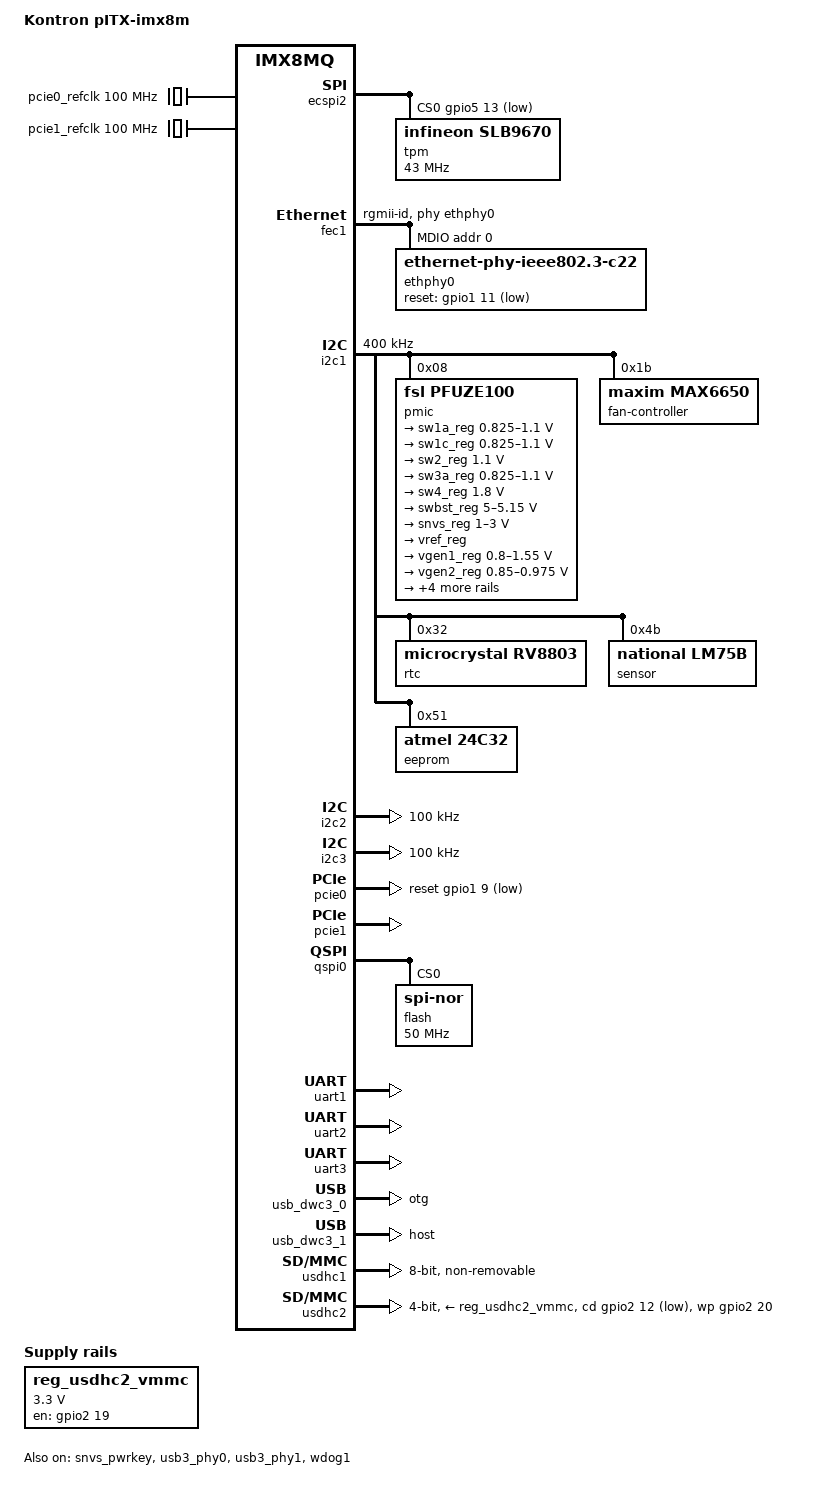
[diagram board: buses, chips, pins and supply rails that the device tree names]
// SPDX-License-Identifier: (GPL-2.0+ OR MIT)
/*
 * Device Tree File for the Kontron pitx-imx8m board.
 *
 * Copyright (C) 2021 Heiko Thiery <heiko.thiery@gmail.com>
 */

/dts-v1/;

#include "imx8mq.dtsi"
#include <dt-bindings/net/ti-dp83867.h>

/ {
	model = "Kontron pITX-imx8m";
	compatible = "kontron,pitx-imx8m", "fsl,imx8mq";

	aliases {
		i2c0 = &i2c1;
		i2c1 = &i2c2;
		i2c2 = &i2c3;
		mmc0 = &usdhc1;
		mmc1 = &usdhc2;
		serial0 = &uart1;
		serial1 = &uart2;
		serial2 = &uart3;
		spi0 = &qspi0;
		spi1 = &ecspi2;
	};

	chosen {
		stdout-path = "serial2:115200n8";
	};

	pcie0_refclk: pcie0-clock {
		compatible = "fixed-clock";
		#clock-cells = <0>;
		clock-frequency = <100000000>;
	};

	pcie1_refclk: pcie1-clock {
		compatible = "fixed-clock";
		#clock-cells = <0>;
		clock-frequency = <100000000>;
	};

	reg_usdhc2_vmmc: regulator-usdhc2-vmmc {
		compatible = "regulator-fixed";
		pinctrl-names = "default";
		pinctrl-0 = <&pinctrl_reg_usdhc2>;
		regulator-name = "V_3V3_SD";
		regulator-min-microvolt = <3300000>;
		regulator-max-microvolt = <3300000>;
		gpio = <&gpio2 19 GPIO_ACTIVE_HIGH>;
		off-on-delay-us = <20000>;
		enable-active-high;
	};
};

&ecspi2 {
	#address-cells = <1>;
	#size-cells = <0>;
	pinctrl-names = "default";
	pinctrl-0 = <&pinctrl_ecspi2 &pinctrl_ecspi2_cs>;
	cs-gpios = <&gpio5 13 GPIO_ACTIVE_LOW>;
	status = "okay";

	tpm@0 {
		compatible = "infineon,slb9670", "tcg,tpm_tis-spi";
		reg = <0>;
		spi-max-frequency = <43000000>;
	};
};

&fec1 {
	pinctrl-names = "default";
	pinctrl-0 = <&pinctrl_fec1>;
	phy-mode = "rgmii-id";
	phy-handle = <&ethphy0>;
	fsl,magic-packet;
	status = "okay";

	mdio {
		#address-cells = <1>;
		#size-cells = <0>;

		ethphy0: ethernet-phy@0 {
			compatible = "ethernet-phy-ieee802.3-c22";
			reg = <0>;
			ti,rx-internal-delay = <DP83867_RGMIIDCTL_2_25_NS>;
			ti,tx-internal-delay = <DP83867_RGMIIDCTL_2_75_NS>;
			ti,fifo-depth = <DP83867_PHYCR_FIFO_DEPTH_4_B_NIB>;
			reset-gpios = <&gpio1 11 GPIO_ACTIVE_LOW>;
			reset-assert-us = <10>;
			reset-deassert-us = <280>;
		};
	};
};

&i2c1 {
	clock-frequency = <400000>;
	pinctrl-names = "default";
	pinctrl-0 = <&pinctrl_i2c1>;
	status = "okay";

	pmic@8 {
		compatible = "fsl,pfuze100";
		fsl,pfuze-support-disable-sw;
		reg = <0x8>;

		regulators {
			sw1a_reg: sw1ab {
				regulator-name = "V_0V9_GPU";
				regulator-min-microvolt = <825000>;
				regulator-max-microvolt = <1100000>;
			};

			sw1c_reg: sw1c {
				regulator-name = "V_0V9_VPU";
				regulator-min-microvolt = <825000>;
				regulator-max-microvolt = <1100000>;
			};

			sw2_reg: sw2 {
				regulator-name = "V_1V1_NVCC_DRAM";
				regulator-min-microvolt = <1100000>;
				regulator-max-microvolt = <1100000>;
				regulator-always-on;
			};

			sw3a_reg: sw3ab {
				regulator-name = "V_1V0_DRAM";
				regulator-min-microvolt = <825000>;
				regulator-max-microvolt = <1100000>;
				regulator-always-on;
			};

			sw4_reg: sw4 {
				regulator-name = "V_1V8_S0";
				regulator-min-microvolt = <1800000>;
				regulator-max-microvolt = <1800000>;
				regulator-always-on;
			};

			swbst_reg: swbst {
				regulator-name = "NC";
				regulator-min-microvolt = <5000000>;
				regulator-max-microvolt = <5150000>;
			};

			snvs_reg: vsnvs {
				regulator-name = "V_0V9_SNVS";
				regulator-min-microvolt = <1000000>;
				regulator-max-microvolt = <3000000>;
				regulator-always-on;
			};

			vref_reg: vrefddr {
				regulator-name = "V_0V55_VREF_DDR";
				regulator-always-on;
			};

			vgen1_reg: vgen1 {
				regulator-name = "V_1V5_CSI";
				regulator-min-microvolt = <800000>;
				regulator-max-microvolt = <1550000>;
			};

			vgen2_reg: vgen2 {
				regulator-name = "V_0V9_PHY";
				regulator-min-microvolt = <850000>;
				regulator-max-microvolt = <975000>;
				regulator-always-on;
			};

			vgen3_reg: vgen3 {
				regulator-name = "V_1V8_PHY";
				regulator-min-microvolt = <1675000>;
				regulator-max-microvolt = <1975000>;
				regulator-always-on;
			};

			vgen4_reg: vgen4 {
				regulator-name = "V_1V8_VDDA";
				regulator-min-microvolt = <1625000>;
				regulator-max-microvolt = <1875000>;
				regulator-always-on;
			};

			vgen5_reg: vgen5 {
				regulator-name = "V_3V3_PHY";
				regulator-min-microvolt = <3075000>;
				regulator-max-microvolt = <3625000>;
				regulator-always-on;
			};

			vgen6_reg: vgen6 {
				regulator-name = "V_2V8_CAM";
				regulator-min-microvolt = <1800000>;
				regulator-max-microvolt = <3300000>;
				regulator-always-on;
			};
		};
	};

	fan-controller@1b {
		compatible = "maxim,max6650";
		reg = <0x1b>;
		maxim,fan-microvolt = <5000000>;
	};

	rtc@32 {
		compatible = "microcrystal,rv8803";
		reg = <0x32>;
	};

	sensor@4b {
		compatible = "national,lm75b";
		reg = <0x4b>;
	};

	eeprom@51 {
		compatible = "atmel,24c32";
		reg = <0x51>;
		pagesize = <32>;
	};
};

&i2c2 {
	clock-frequency = <100000>;
	pinctrl-names = "default";
	pinctrl-0 = <&pinctrl_i2c2>;
	status = "okay";
};

&i2c3 {
	clock-frequency = <100000>;
	pinctrl-names = "default";
	pinctrl-0 = <&pinctrl_i2c3>;
	status = "okay";
};

/* M.2 B-key slot */
&pcie0 {
	pinctrl-names = "default";
	pinctrl-0 = <&pinctrl_pcie0>;
	reset-gpio = <&gpio1 9 GPIO_ACTIVE_LOW>;
	clocks = <&clk IMX8MQ_CLK_PCIE1_ROOT>,
		 <&pcie0_refclk>,
		 <&clk IMX8MQ_CLK_PCIE1_PHY>,
		 <&clk IMX8MQ_CLK_PCIE1_AUX>;
	status = "okay";
};

/* Intel Ethernet Controller I210/I211 */
&pcie1 {
	clocks = <&clk IMX8MQ_CLK_PCIE2_ROOT>,
		 <&pcie1_refclk>,
		 <&clk IMX8MQ_CLK_PCIE2_PHY>,
		 <&clk IMX8MQ_CLK_PCIE2_AUX>;
	fsl,max-link-speed = <1>;
	status = "okay";
};

&pgc_gpu {
	power-supply = <&sw1a_reg>;
};

&pgc_vpu {
	power-supply = <&sw1c_reg>;
};

&qspi0 {
	pinctrl-names = "default";
	pinctrl-0 = <&pinctrl_qspi>;
	status = "okay";

	flash@0 {
		compatible = "jedec,spi-nor";
		#address-cells = <1>;
		#size-cells = <1>;
		reg = <0>;
		spi-tx-bus-width = <1>;
		spi-rx-bus-width = <4>;
		m25p,fast-read;
		spi-max-frequency = <50000000>;
	};
};

&snvs_pwrkey {
	status = "okay";
};

&uart1 {
	pinctrl-names = "default";
	pinctrl-0 = <&pinctrl_uart1>;
	assigned-clocks = <&clk IMX8MQ_CLK_UART1>;
	assigned-clock-parents = <&clk IMX8MQ_SYS1_PLL_80M>;
	status = "okay";
};

&uart2 {
	pinctrl-names = "default";
	pinctrl-0 = <&pinctrl_uart2>;
	assigned-clocks = <&clk IMX8MQ_CLK_UART2>;
	assigned-clock-parents = <&clk IMX8MQ_SYS1_PLL_80M>;
	status = "okay";
};

&uart3 {
	pinctrl-names = "default";
	pinctrl-0 = <&pinctrl_uart3>;
	uart-has-rtscts;
	assigned-clocks = <&clk IMX8MQ_CLK_UART3>;
	assigned-clock-parents = <&clk IMX8MQ_SYS1_PLL_80M>;
	status = "okay";
};

&usb3_phy0 {
	status = "okay";
};

&usb3_phy1 {
	status = "okay";
};

&usb_dwc3_0 {
	pinctrl-names = "default";
	pinctrl-0 = <&pinctrl_usb0>;
	dr_mode = "otg";
	hnp-disable;
	srp-disable;
	adp-disable;
	maximum-speed = "high-speed";
	status = "okay";
};

&usb_dwc3_1 {
	dr_mode = "host";
	status = "okay";
};

&usdhc1 {
	assigned-clocks = <&clk IMX8MQ_CLK_USDHC1>;
	assigned-clock-rates = <400000000>;
	pinctrl-names = "default", "state_100mhz", "state_200mhz";
	pinctrl-0 = <&pinctrl_usdhc1>;
	pinctrl-1 = <&pinctrl_usdhc1_100mhz>;
	pinctrl-2 = <&pinctrl_usdhc1_200mhz>;
	vqmmc-supply = <&sw4_reg>;
	bus-width = <8>;
	non-removable;
	no-sd;
	no-sdio;
	status = "okay";
};

&usdhc2 {
	assigned-clocks = <&clk IMX8MQ_CLK_USDHC2>;
	assigned-clock-rates = <200000000>;
	pinctrl-names = "default", "state_100mhz", "state_200mhz";
	pinctrl-0 = <&pinctrl_usdhc2>, <&pinctrl_usdhc2_gpio>;
	pinctrl-1 = <&pinctrl_usdhc2_100mhz>, <&pinctrl_usdhc2_gpio>;
	pinctrl-2 = <&pinctrl_usdhc2_200mhz>, <&pinctrl_usdhc2_gpio>;
	bus-width = <4>;
	cd-gpios = <&gpio2 12 GPIO_ACTIVE_LOW>;
	wp-gpios = <&gpio2 20 GPIO_ACTIVE_HIGH>;
	vmmc-supply = <&reg_usdhc2_vmmc>;
	status = "okay";
};

&wdog1 {
	pinctrl-names = "default";
	pinctrl-0 = <&pinctrl_wdog>;
	fsl,ext-reset-output;
	status = "okay";
};

&iomuxc {
	pinctrl-names = "default";
	pinctrl-0 = <&pinctrl_hog>;

	pinctrl_hog: hoggrp {
		fsl,pins = <
			MX8MQ_IOMUXC_NAND_CE1_B_GPIO3_IO2		0x19 /* TPM Reset */
			MX8MQ_IOMUXC_NAND_CE3_B_GPIO3_IO4		0x19 /* USB2 Hub Reset */
		>;
	};

	pinctrl_gpio: gpiogrp {
		fsl,pins = <
			MX8MQ_IOMUXC_NAND_CLE_GPIO3_IO5			0x19 /* GPIO0 */
			MX8MQ_IOMUXC_NAND_RE_B_GPIO3_IO15		0x19 /* GPIO1 */
			MX8MQ_IOMUXC_NAND_WE_B_GPIO3_IO17		0x19 /* GPIO2 */
			MX8MQ_IOMUXC_NAND_WP_B_GPIO3_IO18		0x19 /* GPIO3 */
			MX8MQ_IOMUXC_NAND_READY_B_GPIO3_IO16		0x19 /* GPIO4 */
			MX8MQ_IOMUXC_NAND_DATA04_GPIO3_IO10		0x19 /* GPIO5 */
			MX8MQ_IOMUXC_NAND_DATA05_GPIO3_IO11		0x19 /* GPIO6 */
			MX8MQ_IOMUXC_NAND_DATA06_GPIO3_IO12		0x19 /* GPIO7 */
		>;
	};

	pinctrl_pcie0: pcie0grp {
		fsl,pins = <
			MX8MQ_IOMUXC_GPIO1_IO09_GPIO1_IO9		0x16 /* PCIE_PERST */
			MX8MQ_IOMUXC_UART4_TXD_GPIO5_IO29		0x16 /* W_DISABLE */
		>;
	};

	pinctrl_reg_usdhc2: regusdhc2gpiogrp {
		fsl,pins = <
			MX8MQ_IOMUXC_SD2_RESET_B_GPIO2_IO19		0x41
		>;
	};

	pinctrl_fec1: fec1grp {
		fsl,pins = <
			MX8MQ_IOMUXC_ENET_MDC_ENET1_MDC			0x3
			MX8MQ_IOMUXC_ENET_MDIO_ENET1_MDIO		0x23
			MX8MQ_IOMUXC_ENET_TD3_ENET1_RGMII_TD3		0x1f
			MX8MQ_IOMUXC_ENET_TD2_ENET1_RGMII_TD2		0x1f
			MX8MQ_IOMUXC_ENET_TD1_ENET1_RGMII_TD1		0x1f
			MX8MQ_IOMUXC_ENET_TD0_ENET1_RGMII_TD0		0x1f
			MX8MQ_IOMUXC_ENET_RD3_ENET1_RGMII_RD3		0x91
			MX8MQ_IOMUXC_ENET_RD2_ENET1_RGMII_RD2		0x91
			MX8MQ_IOMUXC_ENET_RD1_ENET1_RGMII_RD1		0x91
			MX8MQ_IOMUXC_ENET_RD0_ENET1_RGMII_RD0		0x91
			MX8MQ_IOMUXC_ENET_TXC_ENET1_RGMII_TXC		0x1f
			MX8MQ_IOMUXC_ENET_RXC_ENET1_RGMII_RXC		0x91
			MX8MQ_IOMUXC_ENET_RX_CTL_ENET1_RGMII_RX_CTL	0x91
			MX8MQ_IOMUXC_ENET_TX_CTL_ENET1_RGMII_TX_CTL	0x1f
			MX8MQ_IOMUXC_GPIO1_IO11_GPIO1_IO11		0x16
			MX8MQ_IOMUXC_GPIO1_IO15_GPIO1_IO15		0x16
		>;
	};

	pinctrl_i2c1: i2c1grp {
		fsl,pins = <
			MX8MQ_IOMUXC_I2C1_SCL_I2C1_SCL			0x4000007f
			MX8MQ_IOMUXC_I2C1_SDA_I2C1_SDA			0x4000007f
		>;
	};

	pinctrl_i2c2: i2c2grp {
		fsl,pins = <
			MX8MQ_IOMUXC_I2C2_SCL_I2C2_SCL			0x4000007f
			MX8MQ_IOMUXC_I2C2_SDA_I2C2_SDA			0x4000007f
		>;
	};

	pinctrl_i2c3: i2c3grp {
		fsl,pins = <
			MX8MQ_IOMUXC_I2C3_SCL_I2C3_SCL			0x4000007f
			MX8MQ_IOMUXC_I2C3_SDA_I2C3_SDA			0x4000007f
		>;
	};

	pinctrl_qspi: qspigrp {
		fsl,pins = <
			MX8MQ_IOMUXC_NAND_ALE_QSPI_A_SCLK		0x82
			MX8MQ_IOMUXC_NAND_CE0_B_QSPI_A_SS0_B		0x82
			MX8MQ_IOMUXC_NAND_DATA00_QSPI_A_DATA0		0x82
			MX8MQ_IOMUXC_NAND_DATA01_QSPI_A_DATA1		0x82
			MX8MQ_IOMUXC_NAND_DATA02_QSPI_A_DATA2		0x82
			MX8MQ_IOMUXC_NAND_DATA03_QSPI_A_DATA3		0x82
		>;
	};

	pinctrl_ecspi2: ecspi2grp {
		fsl,pins = <
			MX8MQ_IOMUXC_ECSPI2_MOSI_ECSPI2_MOSI		0x19
			MX8MQ_IOMUXC_ECSPI2_MISO_ECSPI2_MISO		0x19
			MX8MQ_IOMUXC_ECSPI2_SCLK_ECSPI2_SCLK		0x19
		>;
	};

	pinctrl_ecspi2_cs: ecspi2csgrp {
		fsl,pins = <
			MX8MQ_IOMUXC_ECSPI2_SS0_GPIO5_IO13		0x19
		>;
	};

	pinctrl_uart1: uart1grp {
		fsl,pins = <
			MX8MQ_IOMUXC_UART1_TXD_UART1_DCE_TX		0x49
			MX8MQ_IOMUXC_UART1_RXD_UART1_DCE_RX		0x49
		>;
	};

	pinctrl_uart2: uart2grp {
		fsl,pins = <
			MX8MQ_IOMUXC_UART2_TXD_UART2_DCE_TX		0x49
			MX8MQ_IOMUXC_UART2_RXD_UART2_DCE_RX		0x49
		>;
	};

	pinctrl_uart3: uart3grp {
		fsl,pins = <
			MX8MQ_IOMUXC_UART3_TXD_UART3_DCE_TX		0x49
			MX8MQ_IOMUXC_UART3_RXD_UART3_DCE_RX		0x49
			MX8MQ_IOMUXC_ECSPI1_SS0_UART3_DCE_RTS_B		0x49
			MX8MQ_IOMUXC_ECSPI1_MISO_UART3_DCE_CTS_B	0x49
		>;
	};

	pinctrl_usdhc1: usdhc1grp {
		fsl,pins = <
			MX8MQ_IOMUXC_SD1_CLK_USDHC1_CLK			0x83
			MX8MQ_IOMUXC_SD1_CMD_USDHC1_CMD			0xc3
			MX8MQ_IOMUXC_SD1_DATA0_USDHC1_DATA0		0xc3
			MX8MQ_IOMUXC_SD1_DATA1_USDHC1_DATA1		0xc3
			MX8MQ_IOMUXC_SD1_DATA2_USDHC1_DATA2		0xc3
			MX8MQ_IOMUXC_SD1_DATA3_USDHC1_DATA3		0xc3
			MX8MQ_IOMUXC_SD1_DATA4_USDHC1_DATA4		0xc3
			MX8MQ_IOMUXC_SD1_DATA5_USDHC1_DATA5		0xc3
			MX8MQ_IOMUXC_SD1_DATA6_USDHC1_DATA6		0xc3
			MX8MQ_IOMUXC_SD1_DATA7_USDHC1_DATA7		0xc3
			MX8MQ_IOMUXC_SD1_STROBE_USDHC1_STROBE		0x83
			MX8MQ_IOMUXC_SD1_RESET_B_USDHC1_RESET_B		0xc1
		>;
	};

	pinctrl_usdhc1_100mhz: usdhc1-100grp {
		fsl,pins = <
			MX8MQ_IOMUXC_SD1_CLK_USDHC1_CLK			0x8d
			MX8MQ_IOMUXC_SD1_CMD_USDHC1_CMD			0xcd
			MX8MQ_IOMUXC_SD1_DATA0_USDHC1_DATA0		0xcd
			MX8MQ_IOMUXC_SD1_DATA1_USDHC1_DATA1		0xcd
			MX8MQ_IOMUXC_SD1_DATA2_USDHC1_DATA2		0xcd
			MX8MQ_IOMUXC_SD1_DATA3_USDHC1_DATA3		0xcd
			MX8MQ_IOMUXC_SD1_DATA4_USDHC1_DATA4		0xcd
			MX8MQ_IOMUXC_SD1_DATA5_USDHC1_DATA5		0xcd
			MX8MQ_IOMUXC_SD1_DATA6_USDHC1_DATA6		0xcd
			MX8MQ_IOMUXC_SD1_DATA7_USDHC1_DATA7		0xcd
			MX8MQ_IOMUXC_SD1_STROBE_USDHC1_STROBE		0x8d
			MX8MQ_IOMUXC_SD1_RESET_B_USDHC1_RESET_B		0xc1
		>;
	};

	pinctrl_usdhc1_200mhz: usdhc1-200grp {
		fsl,pins = <
			MX8MQ_IOMUXC_SD1_CLK_USDHC1_CLK			0x9f
			MX8MQ_IOMUXC_SD1_CMD_USDHC1_CMD			0xdf
			MX8MQ_IOMUXC_SD1_DATA0_USDHC1_DATA0		0xdf
			MX8MQ_IOMUXC_SD1_DATA1_USDHC1_DATA1		0xdf
			MX8MQ_IOMUXC_SD1_DATA2_USDHC1_DATA2		0xdf
			MX8MQ_IOMUXC_SD1_DATA3_USDHC1_DATA3		0xdf
			MX8MQ_IOMUXC_SD1_DATA4_USDHC1_DATA4		0xdf
			MX8MQ_IOMUXC_SD1_DATA5_USDHC1_DATA5		0xdf
			MX8MQ_IOMUXC_SD1_DATA6_USDHC1_DATA6		0xdf
			MX8MQ_IOMUXC_SD1_DATA7_USDHC1_DATA7		0xdf
			MX8MQ_IOMUXC_SD1_STROBE_USDHC1_STROBE		0x9f
			MX8MQ_IOMUXC_SD1_RESET_B_USDHC1_RESET_B		0xc1
		>;
	};

	pinctrl_usdhc2_gpio: usdhc2gpiogrp {
		fsl,pins = <
			MX8MQ_IOMUXC_SD2_CD_B_GPIO2_IO12		0x41
			MX8MQ_IOMUXC_SD2_WP_GPIO2_IO20			0x19
		>;
	};

	pinctrl_usdhc2: usdhc2grp {
		fsl,pins = <
			MX8MQ_IOMUXC_SD2_CLK_USDHC2_CLK			0x83
			MX8MQ_IOMUXC_SD2_CMD_USDHC2_CMD			0xc3
			MX8MQ_IOMUXC_SD2_DATA0_USDHC2_DATA0		0xc3
			MX8MQ_IOMUXC_SD2_DATA1_USDHC2_DATA1		0xc3
			MX8MQ_IOMUXC_SD2_DATA2_USDHC2_DATA2		0xc3
			MX8MQ_IOMUXC_SD2_DATA3_USDHC2_DATA3		0xc3
			MX8MQ_IOMUXC_GPIO1_IO04_USDHC2_VSELECT		0xc1
		>;
	};

	pinctrl_usdhc2_100mhz: usdhc2-100grp {
		fsl,pins = <
			MX8MQ_IOMUXC_SD2_CLK_USDHC2_CLK			0x8d
			MX8MQ_IOMUXC_SD2_CMD_USDHC2_CMD			0xcd
			MX8MQ_IOMUXC_SD2_DATA0_USDHC2_DATA0		0xcd
			MX8MQ_IOMUXC_SD2_DATA1_USDHC2_DATA1		0xcd
			MX8MQ_IOMUXC_SD2_DATA2_USDHC2_DATA2		0xcd
			MX8MQ_IOMUXC_SD2_DATA3_USDHC2_DATA3		0xcd
			MX8MQ_IOMUXC_GPIO1_IO04_USDHC2_VSELECT		0xc1
		>;
	};

	pinctrl_usdhc2_200mhz: usdhc2-200grp {
		fsl,pins = <
			MX8MQ_IOMUXC_SD2_CLK_USDHC2_CLK			0x9f
			MX8MQ_IOMUXC_SD2_CMD_USDHC2_CMD			0xdf
			MX8MQ_IOMUXC_SD2_DATA0_USDHC2_DATA0		0xdf
			MX8MQ_IOMUXC_SD2_DATA1_USDHC2_DATA1		0xdf
			MX8MQ_IOMUXC_SD2_DATA2_USDHC2_DATA2		0xdf
			MX8MQ_IOMUXC_SD2_DATA3_USDHC2_DATA3		0xdf
			MX8MQ_IOMUXC_GPIO1_IO04_USDHC2_VSELECT		0xc1
		>;
	};

	pinctrl_usb0: usb0grp {
		fsl,pins = <
			MX8MQ_IOMUXC_GPIO1_IO12_USB1_OTG_PWR		0x19
			MX8MQ_IOMUXC_GPIO1_IO13_USB1_OTG_OC		0x19
		>;
	};

	pinctrl_wdog: wdoggrp {
		fsl,pins = <
			MX8MQ_IOMUXC_GPIO1_IO02_WDOG1_WDOG_B		0xc6
		>;
	};
};
